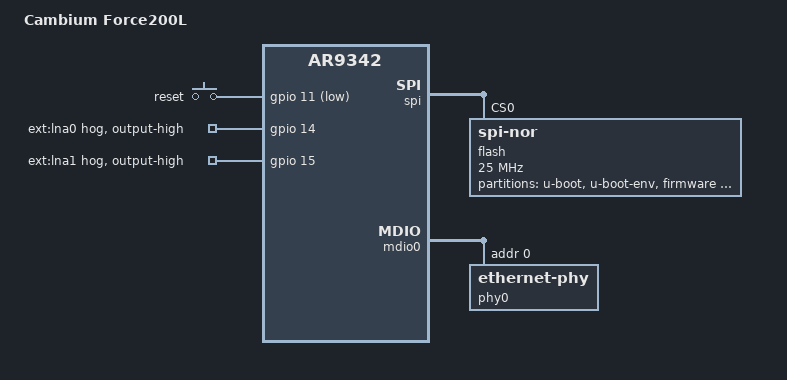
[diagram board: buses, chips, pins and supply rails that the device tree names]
// SPDX-License-Identifier: GPL-2.0-or-later OR MIT
// WARNING, EXPERIMENTAL HARDWARE CHANGES ONLY

#include "ar9344.dtsi"

#include <dt-bindings/gpio/gpio.h>
#include <dt-bindings/input/input.h>

/ {
        compatible = "cambium,force200l", "qca,ar9342";
        model = "Cambium Force200L";

        keys {
                compatible = "gpio-keys";

                reset {
                        label = "reset";
                        linux,code = <KEY_RESTART>;
                        gpios = <&gpio 11 GPIO_ACTIVE_LOW>;
                        debounce-interval = <60>;
                };
        };
};

&gpio {
        gpio_ext_lna0 {
                gpio-hog;
                gpios = <14 GPIO_ACTIVE_HIGH>;
                output-high;
                line-name = "ext:lna0";
        };

        gpio_ext_lna1 {
                gpio-hog;
                gpios = <15 GPIO_ACTIVE_HIGH>;
                output-high;
                line-name = "ext:lna1";
        };
};

&spi {
        status = "okay";

        flash@0 {
                compatible = "jedec,spi-nor";
                reg = <0>;
                spi-max-frequency = <25000000>;

                partitions {
                        compatible = "fixed-partitions";
                        #address-cells = <1>;
                        #size-cells = <1>;

                        partition@0 {
                                label = "u-boot";
                                reg = <0x000000 0x040000>;
                                read-only;
                        };

                        partition@40000 {
                                label = "u-boot-env";
                                reg = <0x040000 0x010000>;
                                read-only;
                        };

                        partition@50000 {
                                compatible = "denx,uimage";
                                label = "firmware";
                                reg = <0x050000 0x7a0000>;
                        };

                        partition@7f0000 {
                                label = "art";
                                reg = <0x7f0000 0x010000>;
                                read-only;

                                nvmem-layout {
                                        compatible = "fixed-layout";
                                        #address-cells = <1>;
                                        #size-cells = <1>;

                                        macaddr_art_0: macaddr@0 {
                                                reg = <0x0 0x6>;
                                        };
       
                                       macaddr_art_1: macaddr@1 {
                                                reg = <0x6 0x6>;
                                        };

                                        calibration_art_1000: calibration@1000 {
                                                reg = <0x1000 0x440>;
                                        };

                                        calibration_art_5000: calibration@5000 {
                                                reg = <0x5000 0x844>;
                                        };
                                };
                        };
                };
        };
};

&ref {
        clock-frequency = <40000000>;
};

&mdio0 {
        status = "okay";

        phy0: ethernet-phy@0 {
                phy-mode = "mii";
                reg = <0>;

        phy0: ethernet-phy@0 {
                phy-mode = "mii";
                reg = <0>;

                qca,ar8327-initvals = <
                        0x04 0x07600000 /* PORT0 PAD MODE CTRL */
                        0x7c 0x0000007e /* PORT0_STATUS */
                >;
        };
};

&eth0 {
        status = "okay";

        /* default for ar934x, except for 1000M and 10M */
        pll-data = <0x06000000 0x00000101 0x00001313>;

        nvmem-cells = <&macaddr_art_0>;
        nvmem-cell-names = "mac-address";

        phy-mode = "mii";
        phy-handle = <&phy0>;

        gmac-config {
                device = <&gmac>;
        };
};

&wmac {
        status = "okay";

       nvmem-cells = <&calibration_art_1000>;
       nvmem-cell-names = "calibration";
};
